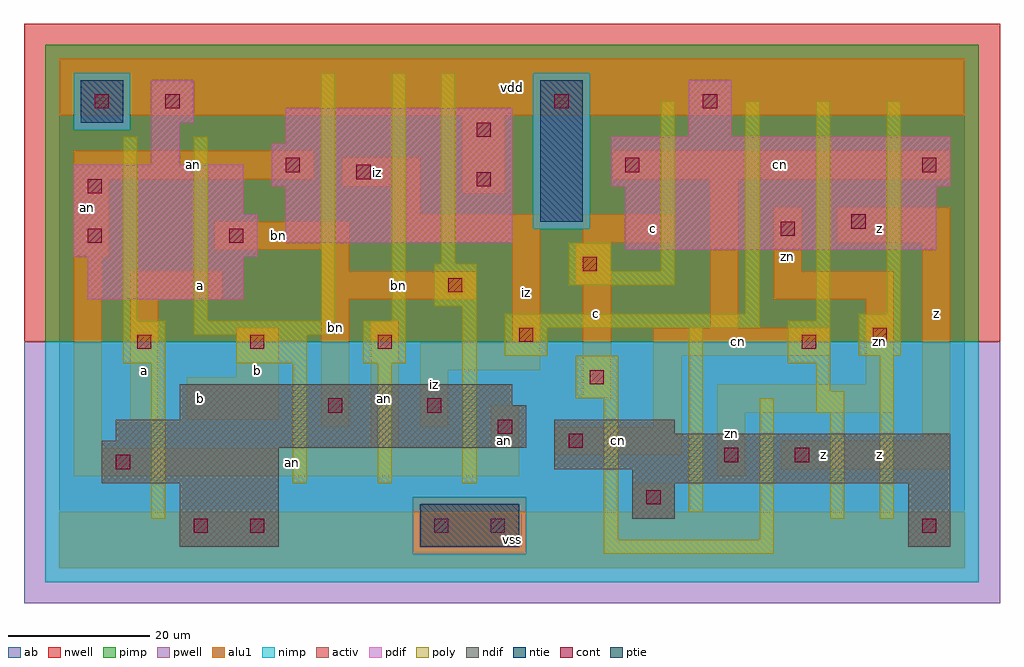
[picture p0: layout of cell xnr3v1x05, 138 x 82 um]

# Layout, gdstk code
import gdstk
lib = gdstk.Library(unit=1e-6, precision=1e-09)
def R(c, l, rs):  # rectangles x0, y0, x1, y1
    for r in rs: c.add(gdstk.rectangle(r[:2], r[2:], *l))
ndif = (3, 0)
pdif = (4, 0)
ntie = (5, 0)
ptie = (6, 0)
cont = (25, 0)
pwell = (41, 0)
nwell = (42, 0)
activ = (43, 0)
pimp = (44, 0)
nimp = (45, 0)
poly = (46, 0)
alu1 = (49, 0)
ab = (63, 0)

xnr3v1x05 = lib.new_cell('xnr3v1x05')
R(xnr3v1x05, ndif, [(17,3,31,12), (120,3,126,12), (81,7,87,12), (6,12,31,17), (81,12,126,14), (70,14,126,19), (6,17,66,18), (8,18,66,21), (70,19,87,21), (17,21,66,23), (17,23,64,26)])
R(xnr3v1x05, pdif, [(4,38,26,44), (2,44,28,50), (80,45,124,54), (32,46,64,54), (2,50,26,57), (30,54,64,60), (78,54,126,61), (13,57,17,63), (32,60,64,65), (89,61,95,69), (13,63,19,69)])
R(xnr3v1x05, ntie, [(68,49,74,69), (3,63,9,69)])
R(xnr3v1x05, ptie, [(51,3,65,9)])
R(xnr3v1x05, cont, [(19,5,21,7), (27,5,29,7), (53,5,55,7), (61,5,63,7), (122,5,124,7), (83,9,85,11), (8,14,10,16), (94,15,96,17), (104,15,106,17), (72,17,74,19), (62,19,64,21), (38,22,40,24), (52,22,54,24), (75,26,77,28), (11,31,13,33), (27,31,29,33), (45,31,47,33), (105,31,107,33), (65,32,67,34), (115,32,117,34), (55,39,57,41), (74,42,76,44), (4,46,6,48), (24,46,26,48), (102,47,104,49), (112,48,114,50), (4,53,6,55), (59,54,61,56), (42,55,44,57), (32,56,34,58), (80,56,82,58), (122,56,124,58), (59,61,61,63), (5,65,7,67), (15,65,17,67), (70,65,72,67), (91,65,93,67)])
R(xnr3v1x05, pwell, [(-5,-5,133,32)])
R(xnr3v1x05, nwell, [(-5,32,133,77)])
R(xnr3v1x05, activ, [(17,3,31,12), (51,3,65,9), (120,3,126,12), (81,7,87,12), (6,12,31,17), (81,12,126,14), (70,14,126,19), (6,17,66,18), (8,18,66,21), (70,19,87,21), (17,21,66,23), (17,23,64,26), (4,38,26,44), (2,44,28,50), (80,45,124,54), (32,46,64,54), (68,49,74,69), (2,50,26,57), (30,54,64,60), (78,54,126,61), (13,57,17,63), (32,60,64,65), (89,61,95,69), (3,63,9,69), (13,63,19,69)])
R(xnr3v1x05, pimp, [(50,2,66,10), (-2,32,130,48), (-2,48,67,62), (75,48,130,70), (-2,62,2,70), (10,62,67,70), (-2,70,130,74)])
R(xnr3v1x05, nimp, [(-2,-2,130,2), (-2,2,50,10), (66,2,130,10), (-2,10,130,32), (67,48,75,70), (2,62,10,70)])
R(xnr3v1x05, poly, [(77,2,101,4), (77,4,79,24), (99,4,101,24), (13,7,15,29), (109,7,111,22), (116,7,118,30), (89,8,91,34), (33,12,35,29), (45,12,47,29), (57,12,59,37), (107,22,111,25), (73,24,79,30), (107,25,109,29), (9,29,15,35), (25,29,35,33), (43,29,49,35), (103,29,109,35), (63,30,69,34), (113,30,119,36), (19,33,39,35), (63,34,99,36), (9,35,11,61), (19,35,21,61), (37,35,39,70), (47,35,49,70), (107,35,109,66), (97,36,99,66), (117,36,119,66), (53,37,59,43), (72,40,87,42), (72,42,78,46), (85,42,87,66), (54,43,56,70)])
R(xnr3v1x05, alu1, [(0,0,128,8), (81,8,87,12), (2,13,65,17), (93,13,97,22), (102,14,126,18), (70,16,88,20), (2,17,6,44), (44,17,48,35), (61,17,65,23), (122,18,126,46), (37,20,41,38), (51,20,55,28), (84,20,88,30), (10,21,14,38), (18,21,31,27), (93,22,118,26), (74,24,78,40), (114,26,118,38), (25,27,31,34), (51,28,68,32), (84,30,109,34), (64,32,68,46), (92,34,96,55), (10,38,23,42), (37,38,59,42), (101,38,118,42), (73,40,78,46), (37,42,41,45), (101,42,105,51), (2,44,7,55), (22,45,41,49), (47,46,68,50), (74,46,87,50), (110,46,126,51), (47,50,51,54), (57,53,63,64), (40,54,51,58), (2,55,36,59), (78,55,126,59), (0,64,128,72)])
R(xnr3v1x05, ab, [(0,0,128,72)])
xnr3v1x05.add(gdstk.Label('an', (4,51), layer=49, texttype=0))
xnr3v1x05.add(gdstk.Label('iz', (53,26), layer=49, texttype=0))
xnr3v1x05.add(gdstk.Label('an', (46,24), layer=49, texttype=0))
xnr3v1x05.add(gdstk.Label('bn', (48,40), layer=49, texttype=0))
xnr3v1x05.add(gdstk.Label('bn', (39,34), layer=49, texttype=0))
xnr3v1x05.add(gdstk.Label('bn', (31,47), layer=49, texttype=0))
xnr3v1x05.add(gdstk.Label('iz', (45,56), layer=49, texttype=0))
xnr3v1x05.add(gdstk.Label('an', (19,57), layer=49, texttype=0))
xnr3v1x05.add(gdstk.Label('an', (33,15), layer=49, texttype=0))
xnr3v1x05.add(gdstk.Label('cn', (79,18), layer=49, texttype=0))
xnr3v1x05.add(gdstk.Label('an', (63,18), layer=49, texttype=0))
xnr3v1x05.add(gdstk.Label('iz', (66,39), layer=49, texttype=0))
xnr3v1x05.add(gdstk.Label('zn', (95,19), layer=49, texttype=0))
xnr3v1x05.add(gdstk.Label('cn', (96,32), layer=49, texttype=0))
xnr3v1x05.add(gdstk.Label('zn', (103,44), layer=49, texttype=0))
xnr3v1x05.add(gdstk.Label('zn', (116,32), layer=49, texttype=0))
xnr3v1x05.add(gdstk.Label('cn', (102,57), layer=49, texttype=0))
xnr3v1x05.add(gdstk.Label('b', (28,28), layer=49, texttype=0))
xnr3v1x05.add(gdstk.Label('b', (20,24), layer=49, texttype=0))
xnr3v1x05.add(gdstk.Label('a', (12,28), layer=49, texttype=0))
xnr3v1x05.add(gdstk.Label('a', (20,40), layer=49, texttype=0))
xnr3v1x05.add(gdstk.Label('vss', (64,4), layer=49, texttype=0))
xnr3v1x05.add(gdstk.Label('c', (76,36), layer=49, texttype=0))
xnr3v1x05.add(gdstk.Label('c', (84,48), layer=49, texttype=0))
xnr3v1x05.add(gdstk.Label('vdd', (64,68), layer=49, texttype=0))
xnr3v1x05.add(gdstk.Label('z', (116,16), layer=49, texttype=0))
xnr3v1x05.add(gdstk.Label('z', (108,16), layer=49, texttype=0))
xnr3v1x05.add(gdstk.Label('z', (124,36), layer=49, texttype=0))
xnr3v1x05.add(gdstk.Label('z', (116,48), layer=49, texttype=0))

lib.write_gds('xnr3v1x05.gds')
